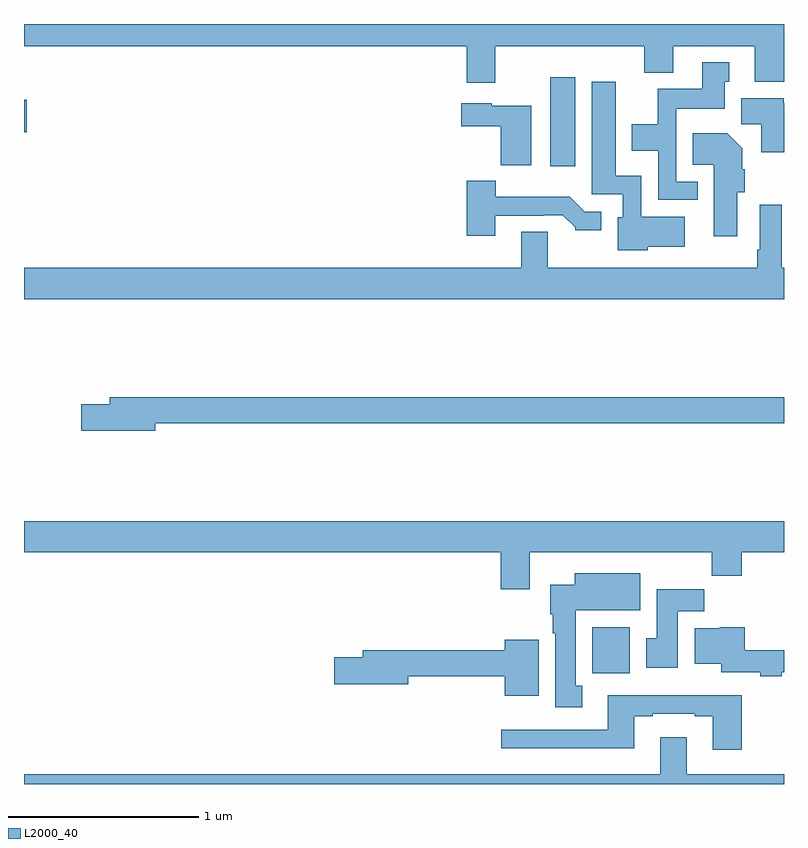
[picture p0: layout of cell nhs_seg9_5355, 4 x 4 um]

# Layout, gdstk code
import gdstk
lib = gdstk.Library(unit=1e-6, precision=1e-09)
def R(c, l, rs):  # rectangles x0, y0, x1, y1
    for r in rs: c.add(gdstk.rectangle(r[:2], r[2:], *l))
def P(c, l, *ps):  # polygons
    for p in ps: c.add(gdstk.Polygon(p, *l))
L2000_40 = (2000, 40)

nhs_seg9_5355 = lib.new_cell('nhs_seg9_5355')
R(nhs_seg9_5355, L2000_40, [(423.992,1229.084,424.189,1229.326), (423.77,1231.752,423.901,1232.221), (421,1231.931,421.015,1232.101)])
P(nhs_seg9_5355, L2000_40, [(423.481,1232.384),(424.265,1232.384),(424.265,1232.243),(424.417,1232.243),(424.417,1232.384),(424.847,1232.384),(424.847,1232.195),(425,1232.195),(425,1232.5),(421,1232.5),(421,1232.384),(423.329,1232.384),(423.329,1232.19),(423.481,1232.19)],
  [(424.546,1231.671),(424.434,1231.671),(424.434,1232.054),(424.687,1232.054),(424.687,1232.196),(424.711,1232.196),(424.711,1232.299),(424.571,1232.299),(424.571,1232.158),(424.336,1232.158),(424.336,1231.972),(424.199,1231.972),(424.199,1231.832),(424.338,1231.832),(424.338,1231.575),(424.546,1231.575)],
  [(424.284,1231.328),(424.477,1231.328),(424.477,1231.486),(424.248,1231.486),(424.248,1231.702),(424.114,1231.702),(424.114,1232.197),(423.989,1232.197),(423.989,1231.605),(424.152,1231.605),(424.152,1231.482),(424.124,1231.482),(424.124,1231.31),(424.284,1231.31)],
  [(425,1232.083),(424.998,1232.083),(424.998,1232.11),(424.775,1232.11),(424.775,1231.972),(424.88,1231.972),(424.88,1231.824),(425,1231.824)],
  [(423.67,1232.071),(423.462,1232.071),(423.462,1232.083),(423.3,1232.083),(423.3,1231.961),(423.508,1231.961),(423.508,1231.757),(423.67,1231.757)],
  [(424.753,1231.614),(424.793,1231.614),(424.793,1231.736),(424.78,1231.736),(424.78,1231.846),(424.702,1231.924),(424.519,1231.924),(424.519,1231.76),(424.631,1231.76),(424.631,1231.383),(424.753,1231.383)],
  [(423.481,1231.491),(423.737,1231.491),(423.737,1231.494),(423.836,1231.494),(423.9,1231.43),(423.9,1231.415),(424.039,1231.415),(424.039,1231.512),(423.951,1231.512),(423.873,1231.591),(423.484,1231.591),(423.484,1231.675),(423.329,1231.675),(423.329,1231.386),(423.481,1231.386)],
  [(425,1231.216),(424.988,1231.216),(424.988,1231.549),(424.872,1231.549),(424.872,1231.312),(424.86,1231.312),(424.86,1231.216),(423.757,1231.216),(423.757,1231.406),(423.617,1231.406),(423.617,1231.216),(421,1231.216),(421,1231.052),(425,1231.052)],
  [(421.69,1230.4),(425,1230.4),(425,1230.536),(421.451,1230.536),(421.451,1230.5),(421.302,1230.5),(421.302,1230.358),(421.69,1230.358)],
  [(423.661,1229.72),(424.621,1229.72),(424.621,1229.596),(424.778,1229.596),(424.778,1229.72),(425,1229.72),(425,1229.884),(421,1229.884),(421,1229.72),(423.509,1229.72),(423.509,1229.526),(423.661,1229.526)],
  [(423.937,1229.018),(423.904,1229.018),(423.904,1229.414),(424.243,1229.414),(424.243,1229.608),(423.899,1229.608),(423.899,1229.548),(423.77,1229.548),(423.77,1229.394),(423.782,1229.394),(423.782,1229.294),(423.797,1229.294),(423.797,1228.905),(423.937,1228.905)],
  [(424.441,1229.408),(424.58,1229.408),(424.58,1229.526),(424.331,1229.526),(424.331,1229.268),(424.274,1229.268),(424.274,1229.112),(424.441,1229.112)],
  [(424.988,1229.088),(425,1229.088),(425,1229.204),(424.793,1229.204),(424.793,1229.326),(424.662,1229.326),(424.662,1229.32),(424.529,1229.32),(424.529,1229.132),(424.67,1229.132),(424.67,1229.088),(424.876,1229.088),(424.876,1229.068),(424.988,1229.068)],
  [(423.709,1229.26),(423.53,1229.26),(423.53,1229.204),(422.783,1229.204),(422.783,1229.168),(422.634,1229.168),(422.634,1229.026),(423.022,1229.026),(423.022,1229.068),(423.53,1229.068),(423.53,1228.964),(423.709,1228.964)],
  [(424.778,1228.966),(424.073,1228.966),(424.073,1228.785),(423.513,1228.785),(423.513,1228.688),(424.213,1228.688),(424.213,1228.857),(424.309,1228.857),(424.309,1228.869),(424.529,1228.869),(424.529,1228.857),(424.625,1228.857),(424.625,1228.68),(424.778,1228.68)],
  [(425,1228.552),(424.489,1228.552),(424.489,1228.747),(424.349,1228.747),(424.349,1228.552),(421,1228.552),(421,1228.5),(425,1228.5)])

lib.write_gds('nhs_seg9_5355.gds')
